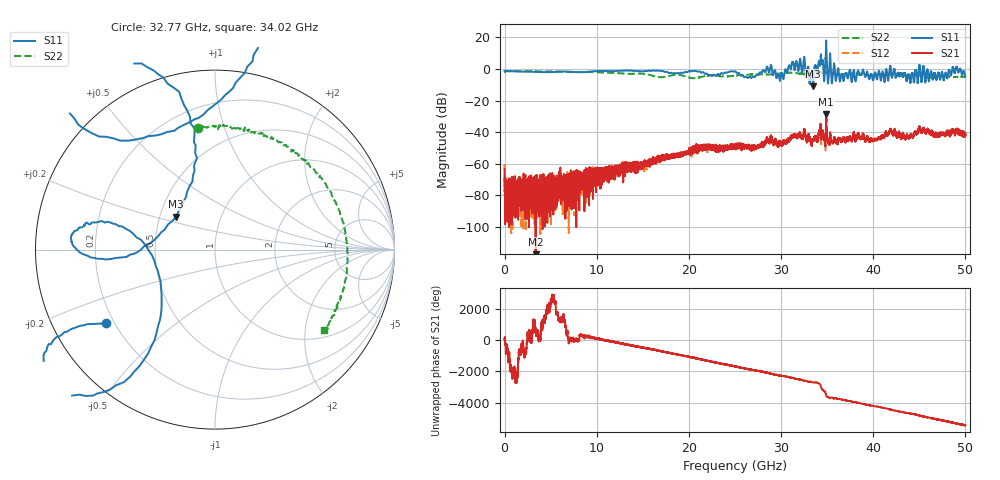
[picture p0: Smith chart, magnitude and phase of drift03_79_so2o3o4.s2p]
!Created with skrf (http://scikit-rf.org).
# Hz S RI R 50.0
!freq ReS11 ImS11 ReS21 ImS21 ReS12 ImS12 ReS22 ImS22
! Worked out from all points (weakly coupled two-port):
!   10001 points, 300 kHz to 50 GHz, reference 50 ohm
!   highest |S21| = -28.47 dB at 34.9 GHz (marker M1); lowest = -117.9 dB at 3.36 GHz (marker M2)
!   lowest |S11| = -10.9 dB at 33.47 GHz (marker M3), VSWR 1.80, Z = 30.3 + j12.1 ohm
!   |S11| at or under -10 dB: 33.44954 GHz to 33.48407 GHz (34.53 MHz wide, 0.103 % of centre)
!   |S22| runs from -5.9 to -1.3 dB; largest |S21 - S12| = 0.012
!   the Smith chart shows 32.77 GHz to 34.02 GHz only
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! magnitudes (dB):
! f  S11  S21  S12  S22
! 300 kHz  -1.3  -63.1  -60.2  -2.0
! 255.3 MHz  -1.3  -73.7  -87.7  -1.4
! 445.3 MHz  -1.4  -72.8  -80.6  -1.5
! 3.36 GHz  -1.9  -117.9  -73.2  -1.5
! 8.335 GHz  -2.2  -71.9  -72.3  -1.9
! 16.67 GHz  -1.1  -56.1  -55.4  -5.1
! 25 GHz  -1.5  -48.4  -48.6  -4.3
! 26.92 GHz  -4.9  -49.3  -51.0  -3.5
! 28.73 GHz  -2.2  -44.5  -45.6  -3.5
! 30.06 GHz  -2.5  -47.3  -47.8  -2.8
! 31.87 GHz  -1.4  -42.3  -42.0  -2.9
! 33.34 GHz  -2.1  -47.5  -46.9  -2.9
! 33.47 GHz  -10.9  -44.5  -45.2  -2.8
! 34.3 GHz  7.6  -35.3  -35.0  -2.3
! 34.9 GHz  18.0  -28.5  -31.7  -2.4
! 36.58 GHz  -3.4  -45.8  -45.8  -3.6
! 40.16 GHz  -2.8  -44.3  -44.5  -3.7
! 41.67 GHz  -5.4  -41.2  -40.7  -3.6
! 43.84 GHz  -3.6  -43.3  -43.5  -3.8
! 45.21 GHz  -6.9  -39.2  -39.4  -4.5
! 49.21 GHz  -2.0  -39.1  -39.3  -5.2
! 50 GHz  -4.8  -40.6  -42.1  -4.9
